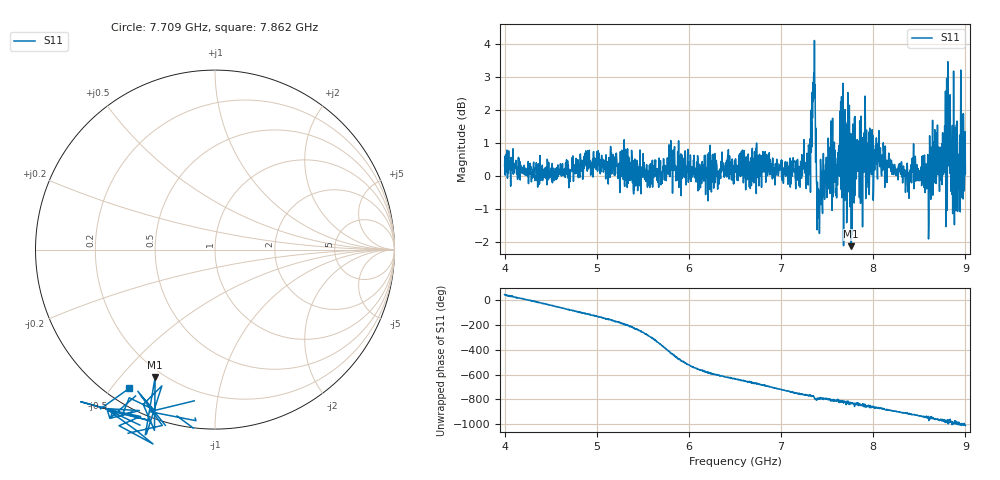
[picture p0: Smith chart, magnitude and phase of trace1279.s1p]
! Created with skrf 1.8.0 (http://scikit-rf.org).
# Hz S RI R 50.0
!freq ReS11 ImS11
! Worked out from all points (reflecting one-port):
!   1601 points, 4 GHz to 9 GHz, reference 50 ohm
!   lowest |S11| = -2.1 dB at 7.762 GHz (marker M1), VSWR 8.25, Z = 8.46 - j31.1 ohm
!   phase of S11 starts at 47 deg and turns -1060 deg over the sweep
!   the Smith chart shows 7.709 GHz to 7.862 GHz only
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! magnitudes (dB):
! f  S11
! 4 GHz  0.3
! 4.625 GHz  0.2
! 5.25 GHz  -0.5
! 5.875 GHz  -0.1
! 6.5 GHz  0.2
! 7.125 GHz  0.3
! 7.294 GHz  -0.3
! 7.347 GHz  2.3
! 7.362 GHz  4.1
! 7.397 GHz  -1.0
! 7.412 GHz  -0.6
! 7.534 GHz  0.3
! 7.588 GHz  0.0
! 7.65 GHz  0.5
! 7.75 GHz  -0.9
! 7.762 GHz  -2.1
! 7.775 GHz  0.8
! 7.822 GHz  0.8
! 7.872 GHz  0.2
! 7.919 GHz  -0.7
! 8.375 GHz  -0.1
! 8.603 GHz  -1.5
! 8.656 GHz  1.0
! 8.781 GHz  0.2
! 8.822 GHz  1.9
! 8.856 GHz  -0.6
! 8.959 GHz  1.9
! 9 GHz  0.1
